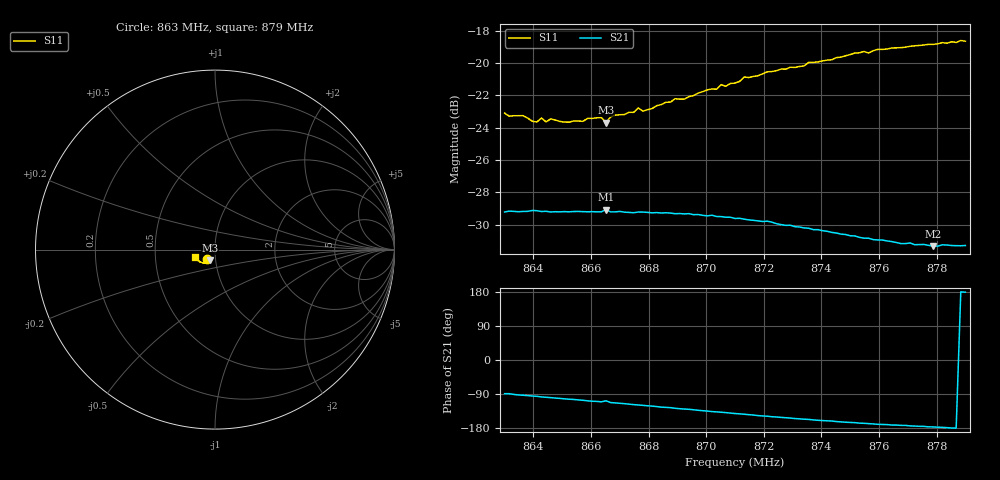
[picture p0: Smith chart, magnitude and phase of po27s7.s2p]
# HZ S RI R 50
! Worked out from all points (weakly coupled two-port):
!   101 points, 863 MHz to 879 MHz, reference 50 ohm
!   highest |S21| = -29.07 dB at 866.52 MHz (marker M1); lowest = -31.3 dB at 877.88 MHz (marker M2)
!   lowest |S11| = -23.7 dB at 866.52 MHz (marker M3), VSWR 1.14, Z = 46.9 - j5.57 ohm
!   |S11| at or under -10 dB: start of sweep to end of sweep
!   S12 and S22 are empty: the file has one direction only
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8.63e8  -0.045 -0.0537  0.000663 -0.0346  0 0  0 0
8.6316e8  -0.0431 -0.0532  0.000656 -0.0348  0 0  0 0
8.6364e8  -0.0427 -0.0539  -0.00184 -0.0347  0 0  0 0
8.6412e8  -0.0385 -0.0533  -0.00356 -0.0348  0 0  0 0
8.6428e8  -0.0395 -0.0549  -0.00452 -0.0344  0 0  0 0
8.6444e8  -0.0385 -0.0533  -0.00506 -0.0344  0 0  0 0
8.646e8  -0.0392 -0.0546  -0.00559 -0.0342  0 0  0 0
8.6572e8  -0.0355 -0.0557  -0.00977 -0.0333  0 0  0 0
8.6636e8  -0.0364 -0.0572  -0.0121 -0.0325  0 0  0 0
8.6652e8  -0.0282 -0.0591  -0.0107 -0.0336  0 0  0 0
8.6684e8  -0.0343 -0.0599  -0.0136 -0.0319  0 0  0 0
8.6764e8  -0.0362 -0.063  -0.0166 -0.0304  0 0  0 0
8.678e8  -0.035 -0.0617  -0.0171 -0.0301  0 0  0 0
8.6844e8  -0.0366 -0.0648  -0.0194 -0.0284  0 0  0 0
8.7036e8  -0.0429 -0.071  -0.0245 -0.0229  0 0  0 0
8.7052e8  -0.045 -0.073  -0.0248 -0.0225  0 0  0 0
8.71e8  -0.0474 -0.0726  -0.0258 -0.0207  0 0  0 0
8.7132e8  -0.0505 -0.0752  -0.0263 -0.0197  0 0  0 0
8.7372e8  -0.0675 -0.0744  -0.0283 -0.0114  0 0  0 0
8.7644e8  -0.0923 -0.0621  -0.0278 -0.00407  0 0  0 0
8.7788e8  -0.1029 -0.0496  -0.0271 -0.00163  0 0  0 0
8.79e8  -0.11 -0.0391  -0.0273 0.000481  0 0  0 0
